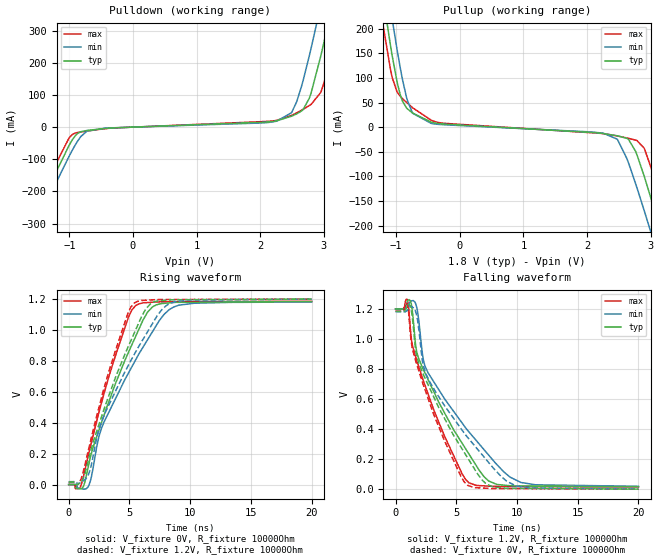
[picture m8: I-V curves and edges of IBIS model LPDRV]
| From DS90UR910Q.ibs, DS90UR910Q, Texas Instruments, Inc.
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|   Model
[Model]   LPDRV
Model_type   Output
Polarity   Non-Inverting
Vmeas = 0.6
Vref = 0
Cref = 1pF
Rref = 1000000
|   typ   min   max
C_comp   1.832pF   1.601pF   1.978pF
[Voltage Range]   1.8   1.71   1.89
[Temperature Range]   25   105   -40
[Pullup Reference]   1.8   1.71   1.89
[Pulldown Reference]   -0   0   0
[Power Clamp Reference]   1.8   1.71   1.89
[GND Clamp Reference]   0   0   0
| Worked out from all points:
|   slope of the pulldown table from 0 to 0.27 V, typ, clamps not added: 131 ohm
|   slope of the pullup table from 0 to 0.27 V, typ, clamps not added: 135 ohm
|   falling waveform, V_fixture 1.2V, R_fixture 10000Ohm: 20-80 % time 4.25ns typ, 5.24ns min, 3.24ns max; typ from 1.2 V to 0.016 V
|   rising waveform, V_fixture 0V, R_fixture 10000Ohm: 20-80 % time 3.45ns typ, 4.27ns min, 2.59ns max; typ from 0 V to 1.18 V
|   rising waveform, V_fixture 1.2V, R_fixture 10000Ohm: 20-80 % time 3.37ns typ, 4.11ns min, 2.55ns max; typ from 0.016 V to 1.2 V
|   falling waveform, V_fixture 0V, R_fixture 10000Ohm: 20-80 % time 4.1ns typ, 4.97ns min, 3.16ns max; typ from 1.18 V to 0 V
[Pulldown]
|   Voltage   I(typ)   I(min)   I(max)
-1.8V     -409.6mA   -431mA     -394.7mA
-1.249V   -158.7mA   -191.2mA   -133.5mA
-941.4mV  -36.35mA   -67.83mA   -21.51mA
-720mV    -10.28mA   -12.31mA   -12.1mA
2.115V    16.16mA    14.26mA    18.08mA
2.493V    33.95mA    44.87mA    36.25mA
2.65V     50.05mA    126.2mA    52.45mA
2.774V    90.33mA    222.4mA    67.19mA
2.952V    220mA      377.8mA    107.7mA
3.055V    309.4mA    471.4mA    175.9mA
3.152V    397.7mA    561.6mA    257.5mA
3.595V    817.3mA    982.9mA    672.1mA
[Pullup]
|   Voltage   I(typ)   I(min)   I(max)
-1.8V     822.1mA    901.3mA    763.8mA
-1.211V   269.8mA    349.4mA    212mA
-1.06V    143.9mA    218mA      100.3mA
-909mV    55.84mA    102.6mA    59.05mA
-741.6mV  28.81mA    28.32mA    39.45mA
-423mV    9.25mA     7.017mA    12.75mA
2.261V    -13.11mA   -12.59mA   -13.27mA
2.477V    -17.64mA   -24.57mA   -17.9mA
2.785V    -56.03mA   -123mA     -27.23mA
3.028V    -154mA     -223.5mA   -90.14mA
3.103V    -187.2mA   -255.8mA   -123mA
3.595V    -410.1mA   -470.4mA   -353mA
[Ramp]
R_load = 10000
|   typ   min   max
dV/dt_r   0.710056/3.44163e-09   0.707852/4.24518e-09   0.711269/2.58299e-09
dV/dt_f   0.71031/4.21831e-09   0.708091/5.21018e-09   0.711482/3.22996e-09
[Falling Waveform]
V_fixture = 1.2V
V_fixture_min = 1.2V
V_fixture_max = 1.2V
R_fixture = 10000Ohm
C_fixture = 0F
|   Time   V(typ)   V(min)   V(max)
0s        1.2V       1.2V       1.2V
970.5ps   1.25V      1.21V      1.26V
1.279ns   1.238V     1.253V     1.014V
1.593ns   1.007V     1.246V     898.3mV
1.749ns   911.8mV    1.207V     856.1mV
2.413ns   774.9mV    821.3mV    694mV
6.03ns    235.5mV    382.3mV    43.34mV
7.669ns   54.48mV    226.6mV    20.44mV
10.31ns   21.84mV    44.8mV     17.87mV
20ns      15.91mV    19.36mV    14.05mV
[Rising Waveform]
V_fixture = 0V
V_fixture_min = 0V
V_fixture_max = 0V
R_fixture = 10000Ohm
C_fixture = 0F
|   Time   V(typ)   V(min)   V(max)
0s        314.2uV    870.3uV    154.9uV
940.5ps   -26.13mV   -24.47mV   -18.05mV
1.219ns   -10.98mV   -28.59mV   54.77mV
1.623ns   119.9mV    -11.25mV   191.4mV
2.673ns   394.1mV    358.8mV    520.7mV
4.92ns    855.1mV    721.3mV    1.082V
5.51ns    957.9mV    806.3mV    1.157V
6.879ns   1.147V     986.2mV    1.179V
9.073ns   1.179V     1.16V      1.182V
20ns      1.184V     1.181V     1.186V
[Rising Waveform]
V_fixture = 1.2V
V_fixture_min = 1.2V
V_fixture_max = 1.2V
R_fixture = 10000Ohm
C_fixture = 0F
|   Time   V(typ)   V(min)   V(max)
0s        15.75mV    19.08mV    13.97mV
890.5ps   11.53mV    8.658mV    15.36mV
1.573ns   145mV      55.24mV    206.5mV
2.683ns   433.5mV    404mV      556.7mV
4.85ns    882.9mV    761.9mV    1.102V
5.41ns    982mV      843.4mV    1.174V
6.729ns   1.168V     1.019V     1.194V
7.643ns   1.19V      1.129V     1.196V
8.743ns   1.195V     1.183V     1.197V
20ns      1.2V       1.199V     1.2V
[Falling Waveform]
|Gnd
V_fixture = 0V
V_fixture_min = 0V
V_fixture_max = 0V
R_fixture = 10000Ohm
C_fixture = 0F
|   Time   V(typ)   V(min)   V(max)
0s        1.184V     1.181V     1.186V
950.5ps   1.222V     1.189V     1.236V
1.269ns   1.201V     1.218V     994.6mV
1.543ns   1.011V     1.203V     887.5mV
1.739ns   886.2mV    1.154V     831.7mV
2.473ns   730.5mV    772.3mV    651.3mV
5.91ns    211.5mV    347.2mV    27.04mV
7.489ns   33.74mV    194.7mV    6.299mV
9.943ns   5.817mV    21.08mV    4mV
20ns      463.2uV    1.104mV    232.7uV
